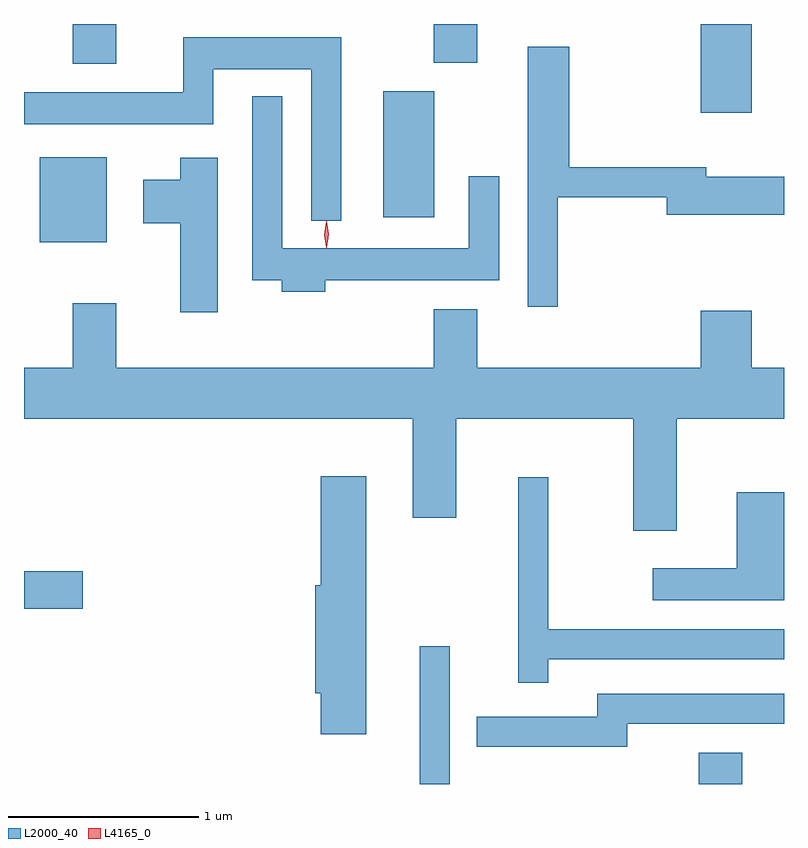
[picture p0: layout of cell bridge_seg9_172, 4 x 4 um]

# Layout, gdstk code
import gdstk
lib = gdstk.Library(unit=1e-6, precision=1e-09)
def R(c, l, rs):  # rectangles x0, y0, x1, y1
    for r in rs: c.add(gdstk.rectangle(r[:2], r[2:], *l))
def P(c, l, *ps):  # polygons
    for p in ps: c.add(gdstk.Polygon(p, *l))
L2000_40 = (2000, 40)
L4165_0 = (4165, 0)

bridge_seg9_172 = lib.new_cell('bridge_seg9_172')
R(bridge_seg9_172, L2000_40, [(1412.396,2069.814,1412.554,2070.538), (1413.866,2069.814,1414.094,2069.979), (1410.314,2070.736,1410.624,2070.934), (1410.396,2072.666,1410.749,2073.114), (1412.206,2072.796,1412.474,2073.459), (1413.876,2073.346,1414.144,2073.814), (1410.571,2073.606,1410.799,2073.814), (1412.471,2073.611,1412.699,2073.814)])
P(bridge_seg9_172, L2000_40, [(1411.984,2073.744),(1411.151,2073.744),(1411.151,2073.454),(1410.314,2073.454),(1410.314,2073.286),(1411.309,2073.286),(1411.309,2073.576),(1411.826,2073.576),(1411.826,2072.778),(1411.984,2072.778)],
  [(1413.124,2072.901),(1413.696,2072.901),(1413.696,2072.811),(1414.314,2072.811),(1414.314,2073.009),(1413.904,2073.009),(1413.904,2073.059),(1413.184,2073.059),(1413.184,2073.694),(1412.966,2073.694),(1412.966,2072.327),(1413.124,2072.327)],
  [(1411.899,2072.466),(1412.814,2072.466),(1412.814,2073.012),(1412.656,2073.012),(1412.656,2072.634),(1411.674,2072.634),(1411.674,2073.433),(1411.516,2073.433),(1411.516,2072.466),(1411.671,2072.466),(1411.671,2072.406),(1411.899,2072.406)],
  [(1411.334,2073.109),(1411.136,2073.109),(1411.136,2072.994),(1410.941,2072.994),(1410.941,2072.766),(1411.136,2072.766),(1411.136,2072.296),(1411.334,2072.296)],
  [(1413.749,2071.736),(1414.314,2071.736),(1414.314,2072.004),(1414.144,2072.004),(1414.144,2072.304),(1413.876,2072.304),(1413.876,2072.004),(1412.699,2072.004),(1412.699,2072.314),(1412.471,2072.314),(1412.471,2072.004),(1410.799,2072.004),(1410.799,2072.344),(1410.571,2072.344),(1410.571,2072.004),(1410.314,2072.004),(1410.314,2071.736),(1412.361,2071.736),(1412.361,2071.216),(1412.589,2071.216),(1412.589,2071.736),(1413.521,2071.736),(1413.521,2071.146),(1413.749,2071.146)],
  [(1412.114,2071.434),(1411.876,2071.434),(1411.876,2070.859),(1411.846,2070.859),(1411.846,2070.291),(1411.876,2070.291),(1411.876,2070.076),(1412.114,2070.076)],
  [(1413.074,2070.471),(1414.314,2070.471),(1414.314,2070.629),(1413.074,2070.629),(1413.074,2071.428),(1412.916,2071.428),(1412.916,2070.347),(1413.074,2070.347)],
  [(1414.314,2071.349),(1414.066,2071.349),(1414.066,2070.949),(1413.623,2070.949),(1413.623,2070.781),(1414.314,2070.781)],
  [(1413.489,2070.131),(1414.314,2070.131),(1414.314,2070.289),(1413.331,2070.289),(1413.331,2070.169),(1412.698,2070.169),(1412.698,2070.011),(1413.489,2070.011)])
P(bridge_seg9_172, L4165_0, [(1411.906,2072.637),(1411.897,2072.707),(1411.906,2072.776),(1411.907,2072.776),(1411.907,2072.776),(1411.917,2072.707),(1411.907,2072.637),(1411.907,2072.637)],
  [(1411.904,2072.64),(1411.895,2072.706),(1411.904,2072.772),(1411.905,2072.773),(1411.905,2072.772),(1411.915,2072.706),(1411.905,2072.64),(1411.905,2072.64)])

lib.write_gds('bridge_seg9_172.gds')
